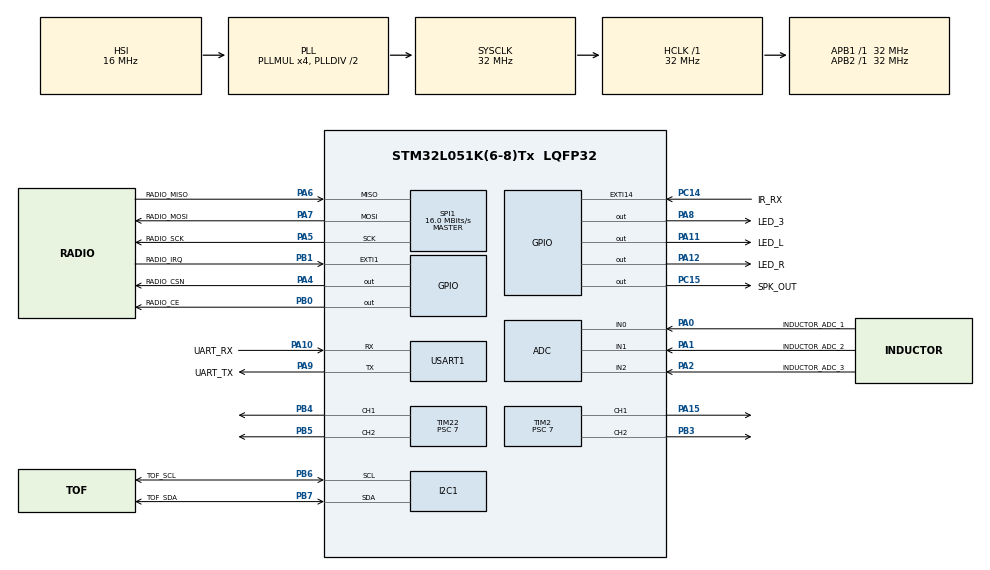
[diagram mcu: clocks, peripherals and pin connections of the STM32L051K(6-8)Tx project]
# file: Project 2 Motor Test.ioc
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ADC.DMAContinuousRequests=ENABLE
Dma.ADC.1.Direction=DMA_PERIPH_TO_MEMORY
Dma.ADC.1.Instance=DMA1_Channel1
Dma.ADC.1.MemDataAlignment=DMA_MDATAALIGN_HALFWORD
Dma.ADC.1.MemInc=DMA_MINC_ENABLE
Dma.ADC.1.Mode=DMA_CIRCULAR
Dma.ADC.1.PeriphDataAlignment=DMA_PDATAALIGN_HALFWORD
Dma.ADC.1.PeriphInc=DMA_PINC_DISABLE
Dma.ADC.1.Priority=DMA_PRIORITY_LOW
Dma.I2C1_TX.0.Direction=DMA_MEMORY_TO_PERIPH
Dma.I2C1_TX.0.Instance=DMA1_Channel2
Dma.I2C1_TX.0.MemDataAlignment=DMA_MDATAALIGN_BYTE
Dma.I2C1_TX.0.MemInc=DMA_MINC_ENABLE
Dma.I2C1_TX.0.Mode=DMA_NORMAL
Dma.I2C1_TX.0.PeriphDataAlignment=DMA_PDATAALIGN_BYTE
Dma.I2C1_TX.0.PeriphInc=DMA_PINC_DISABLE
Dma.I2C1_TX.0.Priority=DMA_PRIORITY_LOW
Dma.Request0=I2C1_TX
Dma.Request1=ADC
I2C1.Timing=0x00B07CB4
Mcu.Family=STM32L0
Mcu.Name=STM32L051K(6-8)Tx
Mcu.Package=LQFP32
NVIC.DMA1_Channel1_IRQn=true\:0\:0\:false\:false\:true\:false\:true\:true
NVIC.DMA1_Channel2_3_IRQn=true\:0\:0\:false\:false\:true\:false\:true\:true
NVIC.EXTI0_1_IRQn=true\:0\:0\:false\:false\:true\:true\:true\:true
NVIC.EXTI4_15_IRQn=true\:0\:0\:false\:false\:true\:true\:true\:true
NVIC.SPI1_IRQn=true\:0\:0\:false\:false\:true\:true\:true\:true
NVIC.TIM21_IRQn=true\:0\:0\:false\:false\:true\:true\:true\:true
NVIC.USART1_IRQn=true\:0\:0\:false\:false\:true\:true\:true\:true
PA0.GPIO_Label=INDUCTOR_ADC_1
PA0.Signal=SharedAnalog_PA0
PA1.GPIO_Label=INDUCTOR_ADC_2
PA1.Signal=SharedAnalog_PA1
PA10.GPIO_Label=UART_RX
PA10.Mode=Asynchronous
PA10.Signal=USART1_RX
PA11.GPIO_Label=LED_L
PA11.Signal=GPIO_Output
PA12.GPIO_Label=LED_R
PA12.Signal=GPIO_Output
PA13.Mode=Serial_Wire
PA13.Signal=SYS_SWDIO
PA14.Mode=Serial_Wire
PA14.Signal=SYS_SWCLK
PA15.Signal=S_TIM2_CH1
PA2.GPIO_Label=INDUCTOR_ADC_3
PA2.Signal=SharedAnalog_PA2
PA3.GPIO_Label=IR_TX
PA3.Signal=S_TIM21_CH2
PA4.GPIO_Label=RADIO_CSN
PA4.GPIO_Speed=GPIO_SPEED_FREQ_HIGH
PA4.Signal=GPIO_Output
PA5.GPIO_Label=RADIO_SCK
PA5.Mode=Full_Duplex_Master
PA5.Signal=SPI1_SCK
PA6.GPIO_Label=RADIO_MISO
PA6.Mode=Full_Duplex_Master
PA6.Signal=SPI1_MISO
PA7.GPIO_Label=RADIO_MOSI
PA7.Mode=Full_Duplex_Master
PA7.Signal=SPI1_MOSI
PA8.GPIO_Label=LED_3
PA8.Signal=GPIO_Output
PA9.GPIO_Label=UART_TX
PA9.Mode=Asynchronous
PA9.Signal=USART1_TX
PB0.GPIO_Label=RADIO_CE
PB0.GPIO_Speed=GPIO_SPEED_FREQ_HIGH
PB0.Signal=GPIO_Output
PB1.GPIO_Label=RADIO_IRQ
PB1.GPIO_ModeDefaultEXTI=GPIO_MODE_IT_FALLING
PB1.Signal=GPXTI1
PB3.Signal=S_TIM2_CH2
PB4.Signal=S_TIM22_CH1
PB5.Signal=S_TIM22_CH2
PB6.GPIO_Label=TOF_SCL
PB6.GPIO_Pu=GPIO_PULLUP
PB6.Mode=I2C
PB6.Signal=I2C1_SCL
PB7.GPIO_Label=TOF_SDA
PB7.GPIO_Pu=GPIO_PULLUP
PB7.Mode=I2C
PB7.Signal=I2C1_SDA
PC14-OSC32_IN.GPIO_Label=IR_RX
PC14-OSC32_IN.GPIO_ModeDefaultEXTI=GPIO_MODE_IT_FALLING
PC14-OSC32_IN.Signal=GPXTI14
PC15-OSC32_OUT.GPIO_Label=SPK_OUT
PC15-OSC32_OUT.Signal=GPIO_Output
ProjectManager.HeapSize=0x200
ProjectManager.StackSize=0x400
ProjectManager.TargetToolchain=STM32CubeIDE
RCC.AHBFreq_Value=32000000
RCC.APB1Freq_Value=32000000
RCC.APB1TimFreq_Value=32000000
RCC.APB2Freq_Value=32000000
RCC.APB2TimFreq_Value=32000000
RCC.HCLKFreq_Value=32000000
RCC.HSI16_VALUE=16000000
RCC.HSI_VALUE=16000000
RCC.LSE_VALUE=32768
RCC.MSI_VALUE=2097000
RCC.PLLMUL=RCC_PLLMUL_4
RCC.SYSCLKFreq_VALUE=32000000
RCC.SYSCLKSource=RCC_SYSCLKSOURCE_PLLCLK
RCC.VCOOutputFreq_Value=64000000
SH.S_TIM21_CH2.0=TIM21_CH2
SH.S_TIM22_CH1.0=TIM22_CH1,PWM Generation1 CH1
SH.S_TIM22_CH2.0=TIM22_CH2,PWM Generation2 CH2
SH.S_TIM2_CH1.0=TIM2_CH1,PWM Generation1 CH1
SH.S_TIM2_CH2.0=TIM2_CH2,PWM Generation2 CH2
SH.SharedAnalog_PA0.0=GPIO_Analog
SH.SharedAnalog_PA0.1=ADC_IN0,IN0
SH.SharedAnalog_PA1.0=GPIO_Analog
SH.SharedAnalog_PA1.1=ADC_IN1,IN1
SH.SharedAnalog_PA2.0=GPIO_Analog
SH.SharedAnalog_PA2.1=ADC_IN2,IN2
SPI1.CalculateBaudRate=16.0 MBits/s
SPI1.Direction=SPI_DIRECTION_2LINES
SPI1.Mode=SPI_MODE_MASTER
SPI1.VirtualType=VM_MASTER
TIM2.AutoReloadPreload=TIM_AUTORELOAD_PRELOAD_ENABLE
TIM2.Channel-PWM\ Generation1\ CH1=TIM_CHANNEL_1
TIM2.Channel-PWM\ Generation2\ CH2=TIM_CHANNEL_2
TIM2.Period=999
TIM2.Prescaler=7
TIM21.ClockDivision=TIM_CLOCKDIVISION_DIV2
TIM21.Period=15000
TIM21.Prescaler=15
TIM22.AutoReloadPreload=TIM_AUTORELOAD_PRELOAD_ENABLE
TIM22.Channel-PWM\ Generation1\ CH1=TIM_CHANNEL_1
TIM22.Channel-PWM\ Generation2\ CH2=TIM_CHANNEL_2
TIM22.Period=999
TIM22.Prescaler=7
TIM6.AutoReloadPreload=TIM_AUTORELOAD_PRELOAD_DISABLE
TIM6.Prescaler=2096
USART1.VirtualMode-Asynchronous=VM_ASYNC
VP_TIM21_VS_ClockSourceINT.Mode=Internal
VP_TIM22_VS_ClockSourceINT.Mode=Internal
VP_TIM2_VS_ClockSourceINT.Mode=Internal
VP_TIM6_VS_ClockSourceINT.Mode=Enable_Timer
board=custom

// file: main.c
/* USER CODE BEGIN Header */
/**
  ******************************************************************************
  * @file           : main.c
  * @brief          : Main program body
  ******************************************************************************
  * @attention
  *
  * Copyright (c) 2026 STMicroelectronics.
  * All rights reserved.
  *
  * This software is licensed under terms that can be found in the LICENSE file
  * in the root directory of this software component.
  * If no LICENSE file comes with this software, it is provided AS-IS.
  *
  ******************************************************************************
  */
/* USER CODE END Header */
#include "main.h"

/* USER CODE BEGIN Includes */
#include "tof.h"
#include <stdbool.h>
#include <stdio.h>
#include <stdlib.h>

#include <strings.h>
#include "ir_r.h"
#include "NRF24.h"
#include "NRF24_reg_addresses.h"

#include "sensors.h"
#include "control.h"
#include "intersection.h"
#include "motors.h"

#define PLD_SIZE 32

#define tx //comment this part out for rx code, otherwise this is tx code
/* USER CODE END Includes */

/* USER CODE BEGIN PD */
#define TOF_ADDRESS 0x52
/* USER CODE END PD */

ADC_HandleTypeDef hadc;
DMA_HandleTypeDef hdma_adc;

I2C_HandleTypeDef hi2c1;
DMA_HandleTypeDef hdma_i2c1_tx;

SPI_HandleTypeDef hspi1;

TIM_HandleTypeDef htim2;
TIM_HandleTypeDef htim6;
TIM_HandleTypeDef htim21;
TIM_HandleTypeDef htim22;

UART_HandleTypeDef huart1;

/* USER CODE BEGIN PV */
uint8_t TX_Buffer [8]; // DATA to send
uint16_t adc_buffer[3];
/* USER CODE END PV */

void SystemClock_Config(void);
static void MX_GPIO_Init(void);
static void MX_DMA_Init(void);
static void MX_TIM2_Init(void);
static void MX_TIM22_Init(void);
static void MX_ADC_Init(void);
static void MX_I2C1_Init(void);
static void MX_TIM6_Init(void);
static void MX_USART1_UART_Init(void);
static void MX_SPI1_Init(void);
static void MX_TIM21_Init(void);

/* USER CODE BEGIN 0 */
typedef enum { WAIT_IR, FOLLOW_TRACK, AVOID_OBSTACLE, INTERSECTION_HANDLER, MANUAL_DRIVE } State;
typedef struct {
    uint8_t stop;
    uint8_t valid_config;
    uint8_t auto_mode;
    uint8_t tof_object;
    uint8_t intersection_detected;
    uint8_t signal_lost;
    uint8_t tof_init_success;
    uint8_t tof_busy;
} FSMFlags;

State handleFlags(State currentState, FSMFlags flag) {
    switch (currentState) {
        case WAIT_IR:
            if (flag.valid_config && flag.auto_mode) return FOLLOW_TRACK;
            else if (flag.valid_config && !flag.auto_mode) return MANUAL_DRIVE;
            break;
        case FOLLOW_TRACK:
        	if (flag.stop) return WAIT_IR;
            else if (!flag.auto_mode) return MANUAL_DRIVE;
            else if (flag.tof_object) return AVOID_OBSTACLE;
            else if (flag.intersection_detected) return INTERSECTION_HANDLER;
            break;
        case AVOID_OBSTACLE:
        	if (!flag.tof_object && flag.auto_mode) return FOLLOW_TRACK;
        	else if (!flag.auto_mode) return MANUAL_DRIVE;
        	else if (flag.stop) return WAIT_IR;
        	else if (flag.intersection_detected) return INTERSECTION_HANDLER;
        case INTERSECTION_HANDLER:
        	if (!flag.intersection_detected) return FOLLOW_TRACK;
        case MANUAL_DRIVE:
        	if (flag.signal_lost) return WAIT_IR;
        	else if (flag.auto_mode) return FOLLOW_TRACK;
        	else if (flag.stop) return WAIT_IR;
    }
    return currentState;
}

// Radio Begin0------------------
#ifdef tx
uint8_t data_T[PLD_SIZE];// = { "Hello Dylan Boy" };
uint8_t ack_T[PLD_SIZE];

uint8_t message[PLD_SIZE];
int counter = 0;

#else
uint8_t data_R[PLD_SIZE];
uint8_t ack_R[PLD_SIZE] = { "Received!" };
#endif
// Radio End0-----------------------------

/* USER CODE END 0 */

int main(void)
{

  /* MCU Configuration--------------------------------------------------------*/

  /* Reset of all peripherals, Initializes the Flash interface and the Systick. */
  HAL_Init();

  /* Configure the system clock */
  SystemClock_Config();

  /* Initialize all configured peripherals */
  MX_GPIO_Init();
  MX_DMA_Init();
  MX_TIM2_Init();
  MX_TIM22_Init();
  MX_ADC_Init();
  MX_I2C1_Init();
  MX_TIM6_Init();
  MX_USART1_UART_Init();
  MX_SPI1_Init();
  MX_TIM21_Init();
  /* USER CODE BEGIN 2 */

  HAL_TIM_Base_Start(&htim6);

  HAL_TIM_PWM_Start(&htim2, TIM_CHANNEL_1);
  HAL_TIM_PWM_Start(&htim2, TIM_CHANNEL_2);
  HAL_TIM_PWM_Start(&htim22, TIM_CHANNEL_1);
  HAL_TIM_PWM_Start(&htim22, TIM_CHANNEL_2);

  State currentState = FOLLOW_TRACK;
  FSMFlags flags = {0};

  flags.tof_init_success = vl53l0x_init();

  uint16_t distance;
  bool tof_success;

  if(flags.tof_init_success){
	  printf("VL5310X INIT SUCCESS\r\n");
  }
  else{
	  printf("VL5310X INIT FAILED.\r\n");
  }
/*
// Radio Begin2 ----------------------
  csn_high();

  nrf24_init();
  nrf24_tx_pwr(n18dbm); // _0dbm
  nrf24_data_rate(_1mbps);
  nrf24_set_channel(78);
  nrf24_set_crc(en_crc, _1byte);
  nrf24_pipe_pld_size(0, PLD_SIZE);

  nrf24_auto_retr_delay(5);
  nrf24_auto_retr_limit(15);

  uint8_t addr[5] = { 0x10, 0x21, 0x32, 0x43, 0x54};
  nrf24_open_tx_pipe(addr);
  nrf24_open_rx_pipe(0, addr);

  HAL_ADC_Start_DMA(&hadc, (uint32_t*)adc_buffer, 3);

#ifdef tx
  nrf24_stop_listen();
#else
  nrf24_listen();
#endif
// Radio End2 ----------------------------
*/
  /* USER CODE END 2 */

  /* Infinite loop */
  /* USER CODE BEGIN WHILE */
  printf("BEGIN WHILE\r\n");
  flags.auto_mode = 1;

  while (1)
  {
	  // Collect info and change flags
	  /* FLAG INFORMATION
	   * flag.stop - active high EStop command from controller
	   * flag.auto_mode - AI (high) vs Manual (low) mode command from controller
	   * flag.valid_config - Init com flag from IR, active high
	   * flag.tof_object - Object detected by TOF, active high
	   * flag.signal_lost - set high when IR signal is lost
	   * flag.intersection_detected - set high when intersection detected
	   */
	  	currentState = handleFlags(currentState, flags);

	  	// FSM
	  	switch(currentState) {
	  		// WAIT_IR State: Waiting for VALID_CONFIG, default STOP state
	  		case(WAIT_IR):

	  			break;
	  		// FOLLOW_TRACK State: Following selected track, waiting for TOF, auto or STOP command
	  		case(FOLLOW_TRACK):
				printf("FOLLOW TRACK STATE.\r\n");
			// INDUCTOR SENSOR

	  		  HAL_ADC_Start_DMA(&hadc, (uint32_t*)adc_buffer, 3);

			  uint16_t left   = (3300*adc_buffer[0])/4095;
		      uint16_t center = (3300*adc_buffer[1])/4095;
		      uint16_t right  = (3300*adc_buffer[2])/4095;

		      Sensors_Update(left, right, center);
		      int32_t error = Sensors_Get_Error();
		      printf("%ld\r\n", error);
		      Follow_Line(error);
		      int32_t sensor_left = Sensors_Get_Left();
		      int32_t sensor_center = Sensors_Get_Center();
		      int32_t sensor_right = Sensors_Get_Right();
		      int32_t sensor_total = Sensors_Get_Sum();

		      printf("%ld | ", sensor_left);
		      printf("%ld | ", sensor_center);
		      printf("%ld | ", sensor_right);
		      printf("%ld\r\n", sensor_total);

		      //sprintf(tx_buffer, "L=%u C=%u R=%u\r\n", left, center, right); // for debugging
		      //HAL_UART_Transmit(&huart1, (uint8_t)tx_buffer, 100, 100);

	  		// TOF Data Collection
	  			// Start TOF Measurement
	  			if (flags.tof_busy == 0){
	  				tof_success = TOFStartMeasurement();
	  				__HAL_TIM_SET_COUNTER(&htim6, 0);
	  				flags.tof_busy = 1;
	  				//if(tof_success == true) printf("TOF Measurement Start Successful\r\n");
	  				//else printf("TOF Measurement Start Failed\r\n");
	  			}
	  			else if (__HAL_TIM_GET_COUNTER(&htim6) >= 250) {
	  			    tof_success = TOFRecordMeasurement(&distance);
	  			    if (tof_success == true) {
	  			    	if(distance < 200){ // TUNE TOF MIN DISTANCE HERE
	  			    		flags.tof_object = 1;
	  			    		printf("OBJECT DETECTED\r\n");
	  			    	}
	  			    	else{
	  			    		flags.tof_object = 0;
	  			    		printf("CLEAR\r\n");
	  			    	}
	  			        printf("Distance: %d mm\r\n", distance);
	  			    }
	  			    // else printf("Sensor read skipped or failed\r\n");
	  			    flags.tof_busy = 0;
	  			    __HAL_TIM_SET_COUNTER(&htim6, 0);
	  			}

	  			break;
	  		// MANUAL DRIVE State: Following user inputs, waiting for stop, or auto
	  		case(MANUAL_DRIVE):

	  			break;
	  		// AVOID OBSTACLE State: Follow object avoidance algorithm, wait for stop or TOF off
	  		case(AVOID_OBSTACLE):

	  			break;
	  		case(INTERSECTION_HANDLER):

	  			break;
	  	}
/*
// Radio Begin While ---------------------
	#ifdef tx
		sprintf((char*)data_T, "%d", counter);

		uint8_t stm_channel = nrf24_r_reg(RF_CH, 1);
		printf("STM32 Diagnostic - Channel: %d\r\n", stm_channel);

		  if(nrf24_transmit(data_T, sizeof(data_T)) == 0){
			  printf("Passed!!");
		  }
		  else
			  printf("Failed");

		  HAL_Delay(100); //avoids noise
		  counter = counter +1;
	#else
		  nrf24_listen();

		  if(nrf24_data_available()){
			  nrf24_receive(data_R, sizeof(data_R));
		  }

		  char tmp[40];
		  sprintf(tmp, "| %s |\r\n", data_R);
		  HAL_UART_Transmit(&huart1, tmp, strlen(tmp), 200);

		  HAL_Delay(1);

	#endif

// Radio End While ---------------------------
*/
  }
    /* USER CODE END WHILE */

}

void SystemClock_Config(void)
{
  RCC_OscInitTypeDef RCC_OscInitStruct = {0};
  RCC_ClkInitTypeDef RCC_ClkInitStruct = {0};
  RCC_PeriphCLKInitTypeDef PeriphClkInit = {0};

  /** Configure the main internal regulator output voltage
  */
  __HAL_PWR_VOLTAGESCALING_CONFIG(PWR_REGULATOR_VOLTAGE_SCALE1);

  /** Initializes the RCC Oscillators according to the specified parameters
  * in the RCC_OscInitTypeDef structure.
  */
  RCC_OscInitStruct.OscillatorType = RCC_OSCILLATORTYPE_HSI;
  RCC_OscInitStruct.HSIState = RCC_HSI_ON;
  RCC_OscInitStruct.HSICalibrationValue = RCC_HSICALIBRATION_DEFAULT;
  RCC_OscInitStruct.PLL.PLLState = RCC_PLL_ON;
  RCC_OscInitStruct.PLL.PLLSource = RCC_PLLSOURCE_HSI;
  RCC_OscInitStruct.PLL.PLLMUL = RCC_PLLMUL_4;
  RCC_OscInitStruct.PLL.PLLDIV = RCC_PLLDIV_2;
  if (HAL_RCC_OscConfig(&RCC_OscInitStruct) != HAL_OK)
  {
    Error_Handler();
  }

  /** Initializes the CPU, AHB and APB buses clocks
  */
  RCC_ClkInitStruct.ClockType = RCC_CLOCKTYPE_HCLK|RCC_CLOCKTYPE_SYSCLK
                              |RCC_CLOCKTYPE_PCLK1|RCC_CLOCKTYPE_PCLK2;
  RCC_ClkInitStruct.SYSCLKSource = RCC_SYSCLKSOURCE_PLLCLK;
  RCC_ClkInitStruct.AHBCLKDivider = RCC_SYSCLK_DIV1;
  RCC_ClkInitStruct.APB1CLKDivider = RCC_HCLK_DIV1;
  RCC_ClkInitStruct.APB2CLKDivider = RCC_HCLK_DIV1;

  if (HAL_RCC_ClockConfig(&RCC_ClkInitStruct, FLASH_LATENCY_1) != HAL_OK)
  {
    Error_Handler();
  }
  PeriphClkInit.PeriphClockSelection = RCC_PERIPHCLK_USART1|RCC_PERIPHCLK_I2C1;
  PeriphClkInit.Usart1ClockSelection = RCC_USART1CLKSOURCE_PCLK2;
  PeriphClkInit.I2c1ClockSelection = RCC_I2C1CLKSOURCE_PCLK1;
  if (HAL_RCCEx_PeriphCLKConfig(&PeriphClkInit) != HAL_OK)
  {
    Error_Handler();
  }
}

static void MX_ADC_Init(void)
{

  ADC_ChannelConfTypeDef sConfig = {0};

  /** Configure the global features of the ADC (Clock, Resolution, Data Alignment and number of conversion)
  */
  hadc.Instance = ADC1;
  hadc.Init.OversamplingMode = DISABLE;
  hadc.Init.ClockPrescaler = ADC_CLOCK_SYNC_PCLK_DIV2;
  hadc.Init.Resolution = ADC_RESOLUTION_12B;
  hadc.Init.SamplingTime = ADC_SAMPLETIME_1CYCLE_5;
  hadc.Init.ScanConvMode = ADC_SCAN_DIRECTION_FORWARD;
  hadc.Init.DataAlign = ADC_DATAALIGN_RIGHT;
  hadc.Init.ContinuousConvMode = DISABLE;
  hadc.Init.DiscontinuousConvMode = DISABLE;
  hadc.Init.ExternalTrigConvEdge = ADC_EXTERNALTRIGCONVEDGE_NONE;
  hadc.Init.ExternalTrigConv = ADC_SOFTWARE_START;
  hadc.Init.DMAContinuousRequests = ENABLE;
  hadc.Init.EOCSelection = ADC_EOC_SINGLE_CONV;
  hadc.Init.Overrun = ADC_OVR_DATA_PRESERVED;
  hadc.Init.LowPowerAutoWait = DISABLE;
  hadc.Init.LowPowerFrequencyMode = DISABLE;
  hadc.Init.LowPowerAutoPowerOff = DISABLE;
  if (HAL_ADC_Init(&hadc) != HAL_OK)
  {
    Error_Handler();
  }

  /** Configure for the selected ADC regular channel to be converted.
  */
  sConfig.Channel = ADC_CHANNEL_0;
  sConfig.Rank = ADC_RANK_CHANNEL_NUMBER;
  if (HAL_ADC_ConfigChannel(&hadc, &sConfig) != HAL_OK)
  {
    Error_Handler();
  }

  /** Configure for the selected ADC regular channel to be converted.
  */
  sConfig.Channel = ADC_CHANNEL_1;
  if (HAL_ADC_ConfigChannel(&hadc, &sConfig) != HAL_OK)
  {
    Error_Handler();
  }

  /** Configure for the selected ADC regular channel to be converted.
  */
  sConfig.Channel = ADC_CHANNEL_2;
  if (HAL_ADC_ConfigChannel(&hadc, &sConfig) != HAL_OK)
  {
    Error_Handler();
  }

}

static void MX_I2C1_Init(void)
{

  hi2c1.Instance = I2C1;
  hi2c1.Init.Timing = 0x00B07CB4;
  hi2c1.Init.OwnAddress1 = 0;
  hi2c1.Init.AddressingMode = I2C_ADDRESSINGMODE_7BIT;
  hi2c1.Init.DualAddressMode = I2C_DUALADDRESS_DISABLE;
  hi2c1.Init.OwnAddress2 = 0;
  hi2c1.Init.OwnAddress2Masks = I2C_OA2_NOMASK;
  hi2c1.Init.GeneralCallMode = I2C_GENERALCALL_DISABLE;
  hi2c1.Init.NoStretchMode = I2C_NOSTRETCH_DISABLE;
  if (HAL_I2C_Init(&hi2c1) != HAL_OK)
  {
    Error_Handler();
  }

  /** Configure Analogue filter
  */
  if (HAL_I2CEx_ConfigAnalogFilter(&hi2c1, I2C_ANALOGFILTER_ENABLE) != HAL_OK)
  {
    Error_Handler();
  }

  /** Configure Digital filter
  */
  if (HAL_I2CEx_ConfigDigitalFilter(&hi2c1, 0) != HAL_OK)
  {
    Error_Handler();
  }

}

static void MX_SPI1_Init(void)
{

  /* SPI1 parameter configuration*/
  hspi1.Instance = SPI1;
  hspi1.Init.Mode = SPI_MODE_MASTER;
  hspi1.Init.Direction = SPI_DIRECTION_2LINES;
  hspi1.Init.DataSize = SPI_DATASIZE_8BIT;
  hspi1.Init.CLKPolarity = SPI_POLARITY_LOW;
  hspi1.Init.CLKPhase = SPI_PHASE_1EDGE;
  hspi1.Init.NSS = SPI_NSS_SOFT;
  hspi1.Init.BaudRatePrescaler = SPI_BAUDRATEPRESCALER_2;
  hspi1.Init.FirstBit = SPI_FIRSTBIT_MSB;
  hspi1.Init.TIMode = SPI_TIMODE_DISABLE;
  hspi1.Init.CRCCalculation = SPI_CRCCALCULATION_DISABLE;
  hspi1.Init.CRCPolynomial = 7;
  if (HAL_SPI_Init(&hspi1) != HAL_OK)
  {
    Error_Handler();
  }

}

static void MX_TIM2_Init(void)
{

  TIM_ClockConfigTypeDef sClockSourceConfig = {0};
  TIM_MasterConfigTypeDef sMasterConfig = {0};
  TIM_OC_InitTypeDef sConfigOC = {0};

  htim2.Instance = TIM2;
  htim2.Init.Prescaler = 7;
  htim2.Init.CounterMode = TIM_COUNTERMODE_UP;
  htim2.Init.Period = 999;
  htim2.Init.ClockDivision = TIM_CLOCKDIVISION_DIV1;
  htim2.Init.AutoReloadPreload = TIM_AUTORELOAD_PRELOAD_ENABLE;
  if (HAL_TIM_Base_Init(&htim2) != HAL_OK)
  {
    Error_Handler();
  }
  sClockSourceConfig.ClockSource = TIM_CLOCKSOURCE_INTERNAL;
  if (HAL_TIM_ConfigClockSource(&htim2, &sClockSourceConfig) != HAL_OK)
  {
    Error_Handler();
  }
  if (HAL_TIM_PWM_Init(&htim2) != HAL_OK)
  {
    Error_Handler();
  }
  sMasterConfig.MasterOutputTrigger = TIM_TRGO_RESET;
  sMasterConfig.MasterSlaveMode = TIM_MASTERSLAVEMODE_DISABLE;
  if (HAL_TIMEx_MasterConfigSynchronization(&htim2, &sMasterConfig) != HAL_OK)
  {
    Error_Handler();
  }
  sConfigOC.OCMode = TIM_OCMODE_PWM1;
  sConfigOC.Pulse = 0;
  sConfigOC.OCPolarity = TIM_OCPOLARITY_HIGH;
  sConfigOC.OCFastMode = TIM_OCFAST_DISABLE;
  if (HAL_TIM_PWM_ConfigChannel(&htim2, &sConfigOC, TIM_CHANNEL_1) != HAL_OK)
  {
    Error_Handler();
  }
  if (HAL_TIM_PWM_ConfigChannel(&htim2, &sConfigOC, TIM_CHANNEL_2) != HAL_OK)
  {
    Error_Handler();
  }
  HAL_TIM_MspPostInit(&htim2);

}

static void MX_TIM6_Init(void)
{

  TIM_MasterConfigTypeDef sMasterConfig = {0};

  htim6.Instance = TIM6;
  htim6.Init.Prescaler = 2096;
  htim6.Init.CounterMode = TIM_COUNTERMODE_UP;
  htim6.Init.Period = 65535;
  htim6.Init.AutoReloadPreload = TIM_AUTORELOAD_PRELOAD_DISABLE;
  if (HAL_TIM_Base_Init(&htim6) != HAL_OK)
  {
    Error_Handler();
  }
  sMasterConfig.MasterOutputTrigger = TIM_TRGO_RESET;
  sMasterConfig.MasterSlaveMode = TIM_MASTERSLAVEMODE_DISABLE;
  if (HAL_TIMEx_MasterConfigSynchronization(&htim6, &sMasterConfig) != HAL_OK)
  {
    Error_Handler();
  }

}

static void MX_TIM21_Init(void)
{

  TIM_ClockConfigTypeDef sClockSourceConfig = {0};
  TIM_MasterConfigTypeDef sMasterConfig = {0};

  htim21.Instance = TIM21;
  htim21.Init.Prescaler = 15;
  htim21.Init.CounterMode = TIM_COUNTERMODE_UP;
  htim21.Init.Period = 15000;
  htim21.Init.ClockDivision = TIM_CLOCKDIVISION_DIV2;
  htim21.Init.AutoReloadPreload = TIM_AUTORELOAD_PRELOAD_DISABLE;
  if (HAL_TIM_Base_Init(&htim21) != HAL_OK)
  {
    Error_Handler();
  }
  sClockSourceConfig.ClockSource = TIM_CLOCKSOURCE_INTERNAL;
  if (HAL_TIM_ConfigClockSource(&htim21, &sClockSourceConfig) != HAL_OK)
  {
    Error_Handler();
  }
  sMasterConfig.MasterOutputTrigger = TIM_TRGO_RESET;
  sMasterConfig.MasterSlaveMode = TIM_MASTERSLAVEMODE_DISABLE;
  if (HAL_TIMEx_MasterConfigSynchronization(&htim21, &sMasterConfig) != HAL_OK)
  {
    Error_Handler();
  }

}

static void MX_TIM22_Init(void)
{

  TIM_ClockConfigTypeDef sClockSourceConfig = {0};
  TIM_MasterConfigTypeDef sMasterConfig = {0};
  TIM_OC_InitTypeDef sConfigOC = {0};

  htim22.Instance = TIM22;
  htim22.Init.Prescaler = 7;
  htim22.Init.CounterMode = TIM_COUNTERMODE_UP;
  htim22.Init.Period = 999;
  htim22.Init.ClockDivision = TIM_CLOCKDIVISION_DIV1;
  htim22.Init.AutoReloadPreload = TIM_AUTORELOAD_PRELOAD_ENABLE;
  if (HAL_TIM_Base_Init(&htim22) != HAL_OK)
  {
    Error_Handler();
  }
  sClockSourceConfig.ClockSource = TIM_CLOCKSOURCE_INTERNAL;
  if (HAL_TIM_ConfigClockSource(&htim22, &sClockSourceConfig) != HAL_OK)
  {
    Error_Handler();
  }
  if (HAL_TIM_PWM_Init(&htim22) != HAL_OK)
  {
    Error_Handler();
  }
  sMasterConfig.MasterOutputTrigger = TIM_TRGO_RESET;
  sMasterConfig.MasterSlaveMode = TIM_MASTERSLAVEMODE_DISABLE;
  if (HAL_TIMEx_MasterConfigSynchronization(&htim22, &sMasterConfig) != HAL_OK)
  {
    Error_Handler();
  }
  sConfigOC.OCMode = TIM_OCMODE_PWM1;
  sConfigOC.Pulse = 0;
  sConfigOC.OCPolarity = TIM_OCPOLARITY_HIGH;
  sConfigOC.OCFastMode = TIM_OCFAST_DISABLE;
  if (HAL_TIM_PWM_ConfigChannel(&htim22, &sConfigOC, TIM_CHANNEL_1) != HAL_OK)
  {
    Error_Handler();
  }
  if (HAL_TIM_PWM_ConfigChannel(&htim22, &sConfigOC, TIM_CHANNEL_2) != HAL_OK)
  {
    Error_Handler();
  }
  HAL_TIM_MspPostInit(&htim22);

}

static void MX_USART1_UART_Init(void)
{

  huart1.Instance = USART1;
  huart1.Init.BaudRate = 115200;
  huart1.Init.WordLength = UART_WORDLENGTH_8B;
  huart1.Init.StopBits = UART_STOPBITS_1;
  huart1.Init.Parity = UART_PARITY_NONE;
  huart1.Init.Mode = UART_MODE_TX_RX;
  huart1.Init.HwFlowCtl = UART_HWCONTROL_NONE;
  huart1.Init.OverSampling = UART_OVERSAMPLING_16;
  huart1.Init.OneBitSampling = UART_ONE_BIT_SAMPLE_DISABLE;
  huart1.AdvancedInit.AdvFeatureInit = UART_ADVFEATURE_NO_INIT;
  if (HAL_UART_Init(&huart1) != HAL_OK)
  {
    Error_Handler();
  }

}

static void MX_DMA_Init(void)
{

  /* DMA controller clock enable */
  __HAL_RCC_DMA1_CLK_ENABLE();

  /* DMA interrupt init */
  /* DMA1_Channel1_IRQn interrupt configuration */
  HAL_NVIC_SetPriority(DMA1_Channel1_IRQn, 0, 0);
  HAL_NVIC_EnableIRQ(DMA1_Channel1_IRQn);
  /* DMA1_Channel2_3_IRQn interrupt configuration */
  HAL_NVIC_SetPriority(DMA1_Channel2_3_IRQn, 0, 0);
  HAL_NVIC_EnableIRQ(DMA1_Channel2_3_IRQn);

}

static void MX_GPIO_Init(void)
{
  GPIO_InitTypeDef GPIO_InitStruct = {0};

  /* GPIO Ports Clock Enable */
  __HAL_RCC_GPIOC_CLK_ENABLE();
  __HAL_RCC_GPIOA_CLK_ENABLE();
  __HAL_RCC_GPIOB_CLK_ENABLE();

  /*Configure GPIO pin Output Level */
  HAL_GPIO_WritePin(SPK_OUT_GPIO_Port, SPK_OUT_Pin, GPIO_PIN_RESET);

  /*Configure GPIO pin Output Level */
  HAL_GPIO_WritePin(GPIOA, RADIO_CSN_Pin|LED_3_Pin|LED_L_Pin|LED_R_Pin, GPIO_PIN_RESET);

  /*Configure GPIO pin Output Level */
  HAL_GPIO_WritePin(RADIO_CE_GPIO_Port, RADIO_CE_Pin, GPIO_PIN_RESET);

  /*Configure GPIO pin : IR_RX_Pin */
  GPIO_InitStruct.Pin = IR_RX_Pin;
  GPIO_InitStruct.Mode = GPIO_MODE_IT_FALLING;
  GPIO_InitStruct.Pull = GPIO_NOPULL;
  HAL_GPIO_Init(IR_RX_GPIO_Port, &GPIO_InitStruct);

  /*Configure GPIO pin : SPK_OUT_Pin */
  GPIO_InitStruct.Pin = SPK_OUT_Pin;
  GPIO_InitStruct.Mode = GPIO_MODE_OUTPUT_PP;
  GPIO_InitStruct.Pull = GPIO_NOPULL;
  GPIO_InitStruct.Speed = GPIO_SPEED_FREQ_LOW;
  HAL_GPIO_Init(SPK_OUT_GPIO_Port, &GPIO_InitStruct);

  /*Configure GPIO pin : RADIO_CSN_Pin */
  GPIO_InitStruct.Pin = RADIO_CSN_Pin;
  GPIO_InitStruct.Mode = GPIO_MODE_OUTPUT_PP;
  GPIO_InitStruct.Pull = GPIO_NOPULL;
  GPIO_InitStruct.Speed = GPIO_SPEED_FREQ_HIGH;
  HAL_GPIO_Init(RADIO_CSN_GPIO_Port, &GPIO_InitStruct);

  /*Configure GPIO pin : RADIO_CE_Pin */
  GPIO_InitStruct.Pin = RADIO_CE_Pin;
  GPIO_InitStruct.Mode = GPIO_MODE_OUTPUT_PP;
  GPIO_InitStruct.Pull = GPIO_NOPULL;
  GPIO_InitStruct.Speed = GPIO_SPEED_FREQ_HIGH;
  HAL_GPIO_Init(RADIO_CE_GPIO_Port, &GPIO_InitStruct);

  /*Configure GPIO pin : RADIO_IRQ_Pin */
  GPIO_InitStruct.Pin = RADIO_IRQ_Pin;
  GPIO_InitStruct.Mode = GPIO_MODE_IT_FALLING;
  GPIO_InitStruct.Pull = GPIO_NOPULL;
  HAL_GPIO_Init(RADIO_IRQ_GPIO_Port, &GPIO_InitStruct);

  /*Configure GPIO pins : LED_3_Pin LED_L_Pin LED_R_Pin */
  GPIO_InitStruct.Pin = LED_3_Pin|LED_L_Pin|LED_R_Pin;
  GPIO_InitStruct.Mode = GPIO_MODE_OUTPUT_PP;
  GPIO_InitStruct.Pull = GPIO_NOPULL;
  GPIO_InitStruct.Speed = GPIO_SPEED_FREQ_LOW;
  HAL_GPIO_Init(GPIOA, &GPIO_InitStruct);

  /* EXTI interrupt init*/
  HAL_NVIC_SetPriority(EXTI0_1_IRQn, 0, 0);
  HAL_NVIC_EnableIRQ(EXTI0_1_IRQn);

  HAL_NVIC_SetPriority(EXTI4_15_IRQn, 0, 0);
  HAL_NVIC_EnableIRQ(EXTI4_15_IRQn);

}

/* USER CODE BEGIN 4 */
int _write(int file, char *ptr, int len) {
    // Transmit the string over UART
    HAL_UART_Transmit(&huart1, (uint8_t*)ptr, len, HAL_MAX_DELAY);
    return len;
}
/* USER CODE END 4 */

void Error_Handler(void)
{
  __disable_irq();
  while (1)
  {
  }
}
